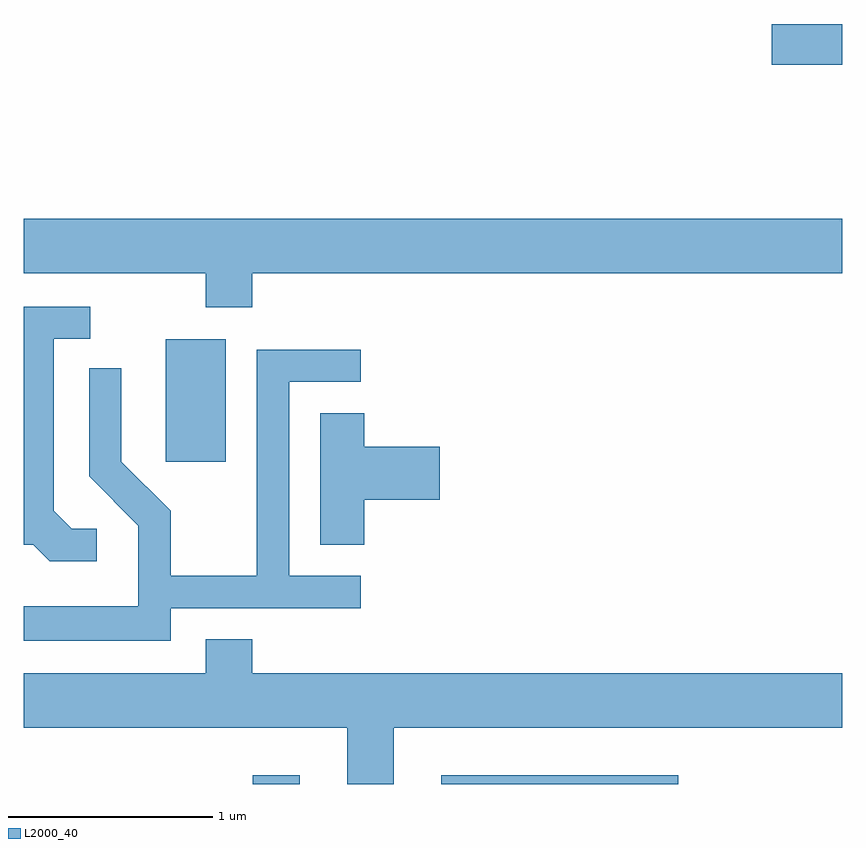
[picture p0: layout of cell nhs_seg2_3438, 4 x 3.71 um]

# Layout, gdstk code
import gdstk
lib = gdstk.Library(unit=1e-6, precision=1e-09)
def R(c, l, rs):  # rectangles x0, y0, x1, y1
    for r in rs: c.add(gdstk.rectangle(r[:2], r[2:], *l))
def P(c, l, *ps):  # polygons
    for p in ps: c.add(gdstk.Polygon(p, *l))
L2000_40 = (2000, 40)

nhs_seg2_3438 = lib.new_cell('nhs_seg2_3438')
R(nhs_seg2_3438, L2000_40, [(286.731,1065.802,286.959,1065.844), (287.651,1065.802,288.808,1065.844), (286.306,1067.376,286.599,1067.974), (289.266,1069.316,289.611,1069.514)])
P(nhs_seg2_3438, L2000_40, [(286.729,1068.296),(289.611,1068.296),(289.611,1068.564),(285.611,1068.564),(285.611,1068.296),(286.501,1068.296),(286.501,1068.131),(286.729,1068.131)],
  [(285.968,1067.049),(285.847,1067.049),(285.759,1067.137),(285.759,1067.976),(285.938,1067.976),(285.938,1068.134),(285.611,1068.134),(285.611,1066.971),(285.659,1066.971),(285.739,1066.891),(285.968,1066.891)],
  [(286.329,1066.661),(287.258,1066.661),(287.258,1066.819),(286.909,1066.819),(286.909,1067.766),(287.258,1067.766),(287.258,1067.924),(286.751,1067.924),(286.751,1066.819),(286.329,1066.819),(286.329,1067.137),(286.089,1067.377),(286.089,1067.833),(285.931,1067.833),(285.931,1067.304),(286.171,1067.064),(286.171,1066.669),(285.611,1066.669),(285.611,1066.501),(286.329,1066.501)],
  [(287.274,1067.191),(287.644,1067.191),(287.644,1067.449),(287.274,1067.449),(287.274,1067.614),(287.061,1067.614),(287.061,1066.971),(287.274,1066.971)],
  [(287.419,1066.076),(289.611,1066.076),(289.611,1066.344),(286.729,1066.344),(286.729,1066.509),(286.501,1066.509),(286.501,1066.344),(285.611,1066.344),(285.611,1066.076),(287.191,1066.076),(287.191,1065.802),(287.419,1065.802)])

lib.write_gds('nhs_seg2_3438.gds')
